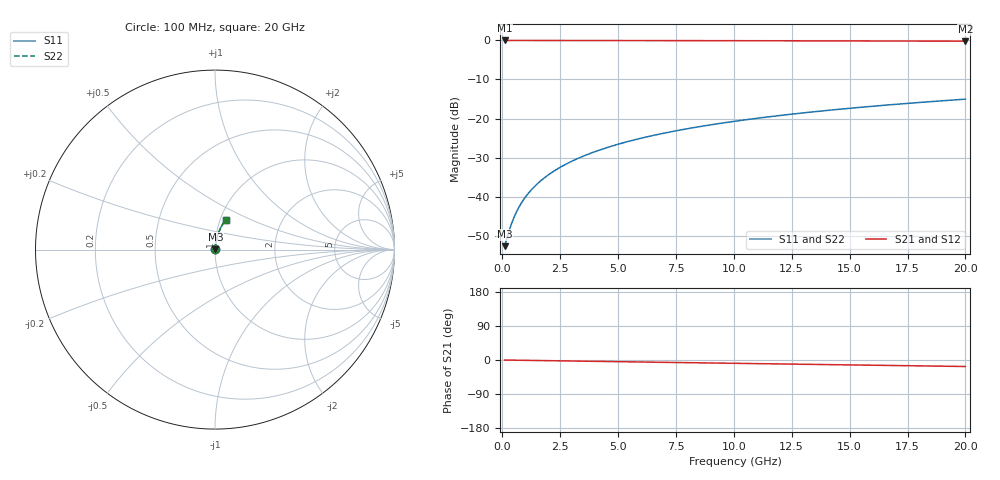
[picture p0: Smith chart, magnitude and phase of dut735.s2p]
! Touchstone file exported from HFSS 2026.1.0
!  File:  C:/ffzhzh/LocalFiles/Ansys_Project_Files/temp_train_TMRDL_735_1783155010_18472.aedt
!  Generated:  04:51:23 PM Jul  4, 2026
!  Design:  TMRDL
!  Project:  temp_train_TMRDL_735_1783155010_18472
! Variables:
!  h_bsmrdl = 2um
!  h_ox = 20um
!  h_rdl = 5um
!  h_sub = 80um
!  h_tmrdl = 3.37um
!  h_tsv = 80um
!  h_via = 3um
!  l_bsmrdl = 300um
!  l_sub = 628.28um
!  l_tmrdl = 228.28um
!  m_sub = 200um
!  pitch = 30.31um
!  r_tsv = 6um
!  s_tmrdl = 10um
!  w_bsmrdl = 18um
!  w_sub = 500um
!  w_tmrdl = 12.32um
!  x_tsv_center1 = 234.44um
!  x_tsv_center2 = 552.44um
!  x_tsv_center3 = 793.04um
!  x_tsv_center4 = 1111.04um
!  x_tsv_center5 = 1351.64um
!  x_tsv_center6 = 1669.64um
# GHz S MA R 50.000000
! Terminal data exported
! Port[1] = TM_RDL1_1_T1
! Port[2] = TM_RDL1_1_T2
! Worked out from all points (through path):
!   200 points, 100 MHz to 20 GHz, reference 50 ohm
!   highest |S21| = -0.02 dB at 100 MHz (marker M1); lowest = -0.2 dB at 20 GHz (marker M2)
!   group delay of S21, straight-line fit = 2.38 ps
!   lowest |S11| = -52.6 dB at 100 MHz (marker M3), VSWR 1.00, Z = 50.2 + j0.102 ohm
!   |S11| at or under -10 dB: start of sweep to end of sweep
!   |S22| runs from -52.6 to -15.0 dB; largest |S21 - S12| = 2.1e-15
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0.1  0.002336 25.7  0.9979 -0.1  0.9979 -0.1  0.002336 25.7
! Gamma 0 0 0 0
! Port Impedance 50 0 50 0
0.3  0.003702 53.6  0.9978 -0.3  0.9978 -0.3  0.003701 53.6
0.4  0.004536 60.3  0.9978 -0.4  0.9978 -0.4  0.004535 60.3
0.5  0.005405 64.8  0.9977 -0.5  0.9977 -0.5  0.005405 64.9
0.6  0.006294 68.1  0.9977 -0.5  0.9977 -0.5  0.006294 68.1
0.7  0.007195 70.5  0.9976 -0.6  0.9976 -0.6  0.007195 70.5
0.9  0.009015 73.9  0.9975 -0.8  0.9975 -0.8  0.009016 73.9
1.2  0.01177 76.9  0.9974 -1.1  0.9974 -1.1  0.01177 76.9
1.4  0.01361 78.2  0.9974 -1.3  0.9974 -1.3  0.01362 78.2
1.7  0.01639 79.5  0.9973 -1.5  0.9973 -1.5  0.01639 79.5
2.2  0.02103 80.8  0.9971 -2.0  0.9971 -2.0  0.02103 80.8
2.8  0.02661 81.5  0.9969 -2.5  0.9969 -2.5  0.02661 81.5
3.5  0.03312 81.8  0.9965 -3.1  0.9965 -3.1  0.03312 81.8
4.2  0.0396 81.8  0.9961 -3.7  0.9961 -3.7  0.0396 81.8
5  0.04698 81.6  0.9956 -4.4  0.9956 -4.4  0.04698 81.6
5.9  0.05524 81.1  0.9949 -5.2  0.9949 -5.2  0.05524 81.1
6.8  0.06344 80.6  0.9942 -6.0  0.9942 -6.0  0.06344 80.6
8.3  0.07697 79.5  0.9928 -7.3  0.9928 -7.3  0.07697 79.5
10.1  0.09298 78.2  0.9909 -8.8  0.9909 -8.8  0.09298 78.2
13.4  0.1218 75.6  0.9868 -11.7  0.9868 -11.7  0.1218 75.6
16.7  0.1498 73.1  0.9822 -14.4  0.9822 -14.4  0.1498 73.1
20  0.1771 70.5  0.9771 -17.2  0.9771 -17.2  0.1771 70.5
